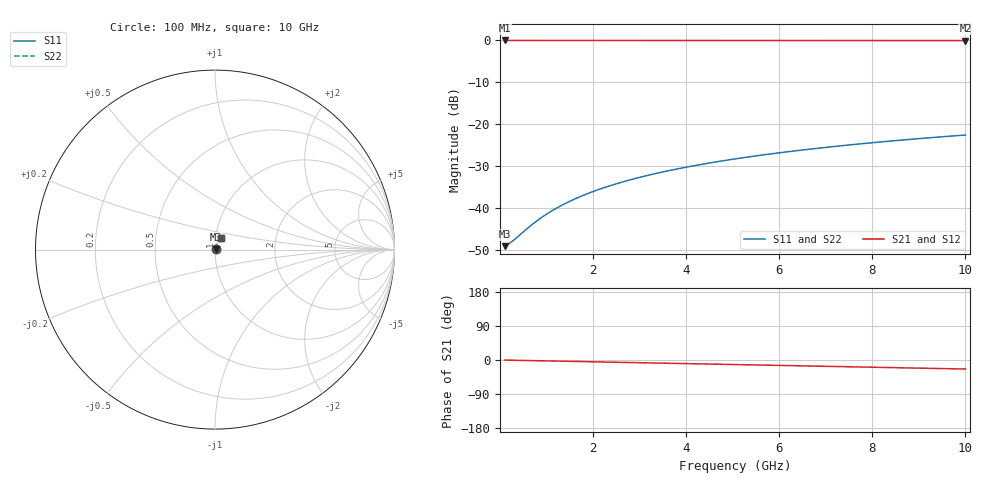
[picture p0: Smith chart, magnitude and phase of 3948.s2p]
# Hz S RI R 50.00
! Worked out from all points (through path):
!   100 points, 100 MHz to 10 GHz, reference 50 ohm
!   highest |S21| = -0.03 dB at 100 MHz (marker M1); lowest = -0.1 dB at 10 GHz (marker M2)
!   group delay of S21, straight-line fit = 6.62 ps
!   lowest |S11| = -49.2 dB at 100 MHz (marker M3), VSWR 1.01, Z = 50.3 + j0.0754 ohm
!   |S11| at or under -10 dB: start of sweep to end of sweep
!   |S22| runs from -49.2 to -22.6 dB; largest |S21 - S12| = 0
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1e8  0.0034 0.000748  0.9966 -0.00414  0.9966 -0.00414  0.0034 0.000748
2e8  0.00343 0.0015  0.9965 -0.00829  0.9965 -0.00829  0.00343 0.0015
3e8  0.00346 0.00224  0.9965 -0.0124  0.9965 -0.0124  0.00346 0.00224
7e8  0.00362 0.00523  0.9961 -0.029  0.9961 -0.029  0.00362 0.00523
8e8  0.00368 0.00598  0.9959 -0.0331  0.9959 -0.0331  0.00368 0.00598
1e9  0.0038 0.00747  0.9956 -0.0414  0.9956 -0.0414  0.0038 0.00747
1.2e9  0.00395 0.00896  0.9952 -0.0497  0.9952 -0.0497  0.00395 0.00896
1.4e9  0.00412 0.0104  0.9947 -0.058  0.9947 -0.058  0.00412 0.0104
1.6e9  0.00432 0.0119  0.9942 -0.0662  0.9942 -0.0662  0.00432 0.0119
1.8e9  0.00453 0.0134  0.9935 -0.0745  0.9935 -0.0745  0.00453 0.0134
2.1e9  0.00491 0.0156  0.9925 -0.0869  0.9925 -0.0869  0.00491 0.0156
2.5e9  0.00549 0.0185  0.9908 -0.1034  0.9908 -0.1034  0.00549 0.0185
2.9e9  0.00617 0.0215  0.9889 -0.1198  0.9889 -0.1198  0.00617 0.0215
3.4e9  0.00716 0.0251  0.9861 -0.1404  0.9861 -0.1404  0.00716 0.0251
3.8e9  0.00805 0.0279  0.9835 -0.1567  0.9835 -0.1567  0.00805 0.0279
4.2e9  0.00904 0.0307  0.9806 -0.1731  0.9806 -0.1731  0.00904 0.0307
5.1e9  0.0116 0.0369  0.9732 -0.2096  0.9732 -0.2096  0.0116 0.0369
5.9e9  0.0143 0.0423  0.9654 -0.2418  0.9654 -0.2418  0.0143 0.0423
6.7e9  0.0173 0.0474  0.9565 -0.2737  0.9565 -0.2737  0.0173 0.0474
7.5e9  0.0206 0.0523  0.9465 -0.3053  0.9465 -0.3053  0.0206 0.0523
8.4e9  0.0248 0.0576  0.934 -0.3404  0.934 -0.3404  0.0248 0.0576
1e10  0.0331 0.0661  0.9085 -0.4015  0.9085 -0.4015  0.0331 0.0661
